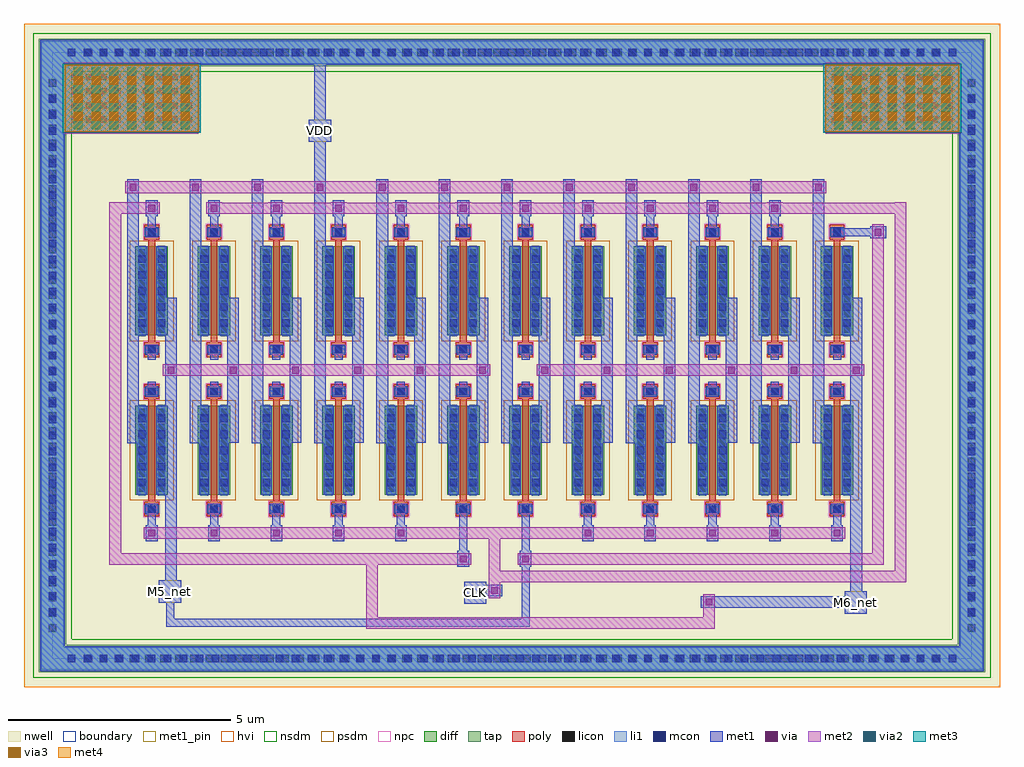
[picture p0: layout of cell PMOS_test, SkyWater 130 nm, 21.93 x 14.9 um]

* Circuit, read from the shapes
.subckt PMOS_test CLK M5_net M6_net VDD
XM1 M5_net CLK VDD VDD sky130_fd_pr__pfet_g5v0d10v5 w=2 l=0.15 m=10
XM2 M5_net M6_net VDD VDD sky130_fd_pr__pfet_g5v0d10v5 w=2 l=0.15 m=2
XM3 M6_net M5_net VDD VDD sky130_fd_pr__pfet_g5v0d10v5 w=2 l=0.15 m=2
XM4 M6_net CLK VDD VDD sky130_fd_pr__pfet_g5v0d10v5 w=2 l=0.15 m=10
.ends

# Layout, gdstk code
import gdstk
lib = gdstk.Library(unit=1e-6, precision=1e-09)
def R(c, l, rs):  # rectangles x0, y0, x1, y1
    for r in rs: c.add(gdstk.rectangle(r[:2], r[2:], *l))
def A(c, l, x, y, w, h, nx, ny, dx, dy):  # array of equal rectangles
    R(c, l, [(x+i*dx, y+j*dy, x+i*dx+w, y+j*dy+h) for i in range(nx) for j in range(ny)])
nwell = (64, 20)
diff = (65, 20)
tap = (65, 44)
poly = (66, 20)
licon = (66, 44)
li1 = (67, 20)
mcon = (67, 44)
met1_pin = (68, 16)
met1 = (68, 20)
via = (68, 44)
met2 = (69, 20)
via2 = (69, 44)
met3 = (70, 20)
via3 = (70, 44)
met4 = (71, 20)
hvi = (75, 20)
nsdm = (93, 44)
psdm = (94, 20)
npc = (95, 20)
boundary = (235, 4)

sky130_fd_pr__pfet_01v8_ = lib.new_cell('sky130_fd_pr__pfet_01v8_MJ75SZ')
R(sky130_fd_pr__pfet_01v8_, nwell, [(-0.545,-1.5,0.545,1.5)])
R(sky130_fd_pr__pfet_01v8_, diff, [(-0.365,-1,0.365,1)])
R(sky130_fd_pr__pfet_01v8_, poly, [(-0.165,-1.485,0.165,-1.155), (-0.075,-1.155,0.075,1.155), (-0.165,1.155,0.165,1.485)])
A(sky130_fd_pr__pfet_01v8_, licon, -0.305, -0.935, 0.17, 0.17, 1, 6, 0, 0.34)
A(sky130_fd_pr__pfet_01v8_, licon, 0.135, -0.935, 0.17, 0.17, 1, 6, 0, 0.34)
R(sky130_fd_pr__pfet_01v8_, licon, [(-0.085,-1.405,0.085,-1.235), (-0.085,1.235,0.085,1.405)])
R(sky130_fd_pr__pfet_01v8_, li1, [(-0.165,-1.405,0.165,-1.235), (-0.305,-1.02,-0.135,1.02), (0.135,-1.02,0.305,1.02), (-0.165,1.235,0.165,1.405)])
A(sky130_fd_pr__pfet_01v8_, mcon, -0.305, -0.805, 0.17, 0.17, 1, 5, 0, 0.36)
A(sky130_fd_pr__pfet_01v8_, mcon, 0.135, -0.805, 0.17, 0.17, 1, 5, 0, 0.36)
R(sky130_fd_pr__pfet_01v8_, mcon, [(-0.085,-1.405,0.085,-1.235), (-0.085,1.235,0.085,1.405)])
R(sky130_fd_pr__pfet_01v8_, met1, [(-0.145,-1.435,0.145,-1.205), (-0.335,-1,-0.105,1), (0.105,-1,0.335,1), (-0.145,1.205,0.145,1.435)])
R(sky130_fd_pr__pfet_01v8_, psdm, [(-0.49,-1.125,0.49,1.125)])
R(sky130_fd_pr__pfet_01v8_, npc, [(-0.185,-1.505,0.185,-1.135), (-0.185,1.135,0.185,1.505)])

pmos_test = lib.new_cell('PMOS_test')
R(pmos_test, nwell, [(-2.87,-8.9,19.06,6)])
R(pmos_test, tap, [(-2.54,-8.57,18.73,-7.95), (-2.54,-7.95,-1.92,5.05), (18.11,-7.95,18.73,5.05), (-2.54,5.05,18.73,5.67)])
A(pmos_test, licon, -1.51, -8.345, 0.17, 0.17, 57, 2, 0.34, 13.62)
A(pmos_test, licon, -2.315, -7.655, 0.17, 0.17, 1, 37, 0, 0.34)
A(pmos_test, licon, 18.335, -7.655, 0.17, 0.17, 1, 37, 0, 0.34)
R(pmos_test, li1, [(-2.48,-8.51,18.67,-8.01), (-2.48,-8.01,-1.98,5.11), (18.17,-8.01,18.67,5.11), (-2.48,5.11,18.67,5.61)])
A(pmos_test, mcon, -1.89, -8.345, 0.17, 0.17, 56, 2, 0.36, 13.62)
A(pmos_test, mcon, -2.315, -7.295, 0.17, 0.17, 1, 33, 0, 0.36)
A(pmos_test, mcon, 18.335, -7.295, 0.17, 0.17, 1, 33, 0, 0.36)
R(pmos_test, met1_pin, [(15.57,-7.25,16.07,-6.75), (7.02,-7.03,7.52,-6.53), (0.16,-7,0.66,-6.5), (3.53,3.35,4.03,3.85)])
A(pmos_test, met1, -0.13, -5.62, 0.26, 0.36, 5, 1, 1.4, 0)
A(pmos_test, met1, 9.67, -5.62, 0.26, 0.36, 5, 1, 1.4, 0)
A(pmos_test, met1, -0.09, -5.26, 0.18, 0.45, 5, 1, 1.4, 0)
A(pmos_test, met1, 9.71, -5.26, 0.18, 0.45, 5, 1, 1.4, 0)
A(pmos_test, met1, -0.55, -3.42, 0.26, 5.93, 3, 1, 1.4, 0)
A(pmos_test, met1, 5.05, -3.42, 0.26, 5.93, 8, 1, 1.4, 0)
A(pmos_test, met1, 1.7, -3.41, 0.26, 3.26, 10, 1, 1.4, 0)
A(pmos_test, met1, -0.09, -2.35, 0.18, 0.31, 12, 2, 1.4, 0.81)
A(pmos_test, met1, -0.09, 1.23, 0.18, 0.45, 11, 1, 1.4, 0)
A(pmos_test, met1, -0.13, 1.68, 0.26, 0.36, 11, 1, 1.4, 0)
R(pmos_test, met1, [(-2.51,-8.54,18.7,-7.98), (-2.51,-7.98,-1.95,3.58), (18.14,-7.98,18.7,3.58), (0.33,-7.54,8.49,-7.36), (0.33,-7.36,0.51,-7), (8.31,-7.36,8.49,-6.2), (15.57,-7.25,16.07,-7.12), (12.34,-7.12,16.07,-6.86), (7.02,-7.03,7.52,-6.86), (0.16,-7,0.66,-6.5), (7.02,-6.86,7.88,-6.6), (15.57,-6.86,16.07,-6.75), (15.7,-6.75,15.96,-0.15), (7.02,-6.6,7.52,-6.53), (0.3,-6.5,0.56,-0.15), (6.87,-6.2,7.13,-5.84), (8.27,-6.2,8.53,-5.84), (6.91,-5.84,7.09,-4.81), (8.31,-5.84,8.49,-4.81), (3.65,-3.42,3.91,3.35), (16.14,1.19,16.5,1.23), (15.31,1.23,16.5,1.41), (16.14,1.41,16.5,1.45), (3.53,3.35,4.03,3.85), (-2.51,3.58,1.1,5.08), (15.09,3.58,18.7,5.08), (3.65,3.85,3.91,5.08), (-2.51,5.08,18.7,5.64)])
A(pmos_test, via, -0.075, -5.515, 0.15, 0.15, 5, 1, 1.4, 0)
A(pmos_test, via, 9.725, -5.515, 0.15, 0.15, 5, 1, 1.4, 0)
A(pmos_test, via, 0.355, -1.855, 0.15, 0.15, 12, 1, 1.4, 0)
A(pmos_test, via, -0.075, 1.785, 0.15, 0.15, 11, 1, 1.4, 0)
A(pmos_test, via, -0.495, 2.255, 0.15, 0.15, 12, 1, 1.4, 0)
A(pmos_test, via, -1.805, 3.775, 0.15, 0.15, 9, 4, 0.32, 0.32)
A(pmos_test, via, 15.285, 3.775, 0.15, 0.15, 9, 4, 0.32, 0.32)
R(pmos_test, via, [(12.445,-7.065,12.595,-6.915), (7.625,-6.805,7.775,-6.655), (6.925,-6.095,7.075,-5.945), (8.325,-6.095,8.475,-5.945), (16.245,1.245,16.395,1.395)])
A(pmos_test, met2, 1.22, 1.98, 0.36, 0.01, 10, 1, 1.4, 0)
R(pmos_test, met2, [(4.82,-7.59,12.65,-7.33), (4.82,-7.33,5.08,-6.15), (12.39,-7.33,12.65,-6.81), (7.57,-6.91,7.83,-6.55), (7.57,-6.55,16.95,-6.29), (7.57,-6.29,7.83,-5.57), (16.69,-6.29,16.95,1.73), (-0.95,-6.15,7.18,-5.89), (8.22,-6.15,16.45,-5.89), (-0.95,-5.89,-0.69,1.73), (16.19,-5.89,16.45,1.5), (-0.18,-5.57,15.58,-5.31), (0.25,-1.91,7.61,-1.65), (8.65,-1.91,16.01,-1.65), (-0.95,1.73,0.18,1.99), (1.22,1.73,16.95,1.98), (16.69,1.98,16.95,1.99), (-0.6,2.2,15.16,2.46), (-1.95,3.53,1.05,5.13), (15.14,3.53,18.14,5.13)])
A(pmos_test, via2, -1.75, 3.63, 0.2, 0.2, 7, 4, 0.4, 0.4)
A(pmos_test, via2, 15.34, 3.63, 0.2, 0.2, 7, 4, 0.4, 0.4)
R(pmos_test, met3, [(-2,3.555,1.1,5.105), (15.09,3.555,18.19,5.105)])
A(pmos_test, via3, -1.75, 3.83, 0.2, 0.2, 7, 3, 0.4, 0.4)
A(pmos_test, via3, 15.34, 3.83, 0.2, 0.2, 7, 3, 0.4, 0.4)
R(pmos_test, met4, [(-1.955,3.575,1.055,5.085), (15.135,3.575,18.145,5.085)])
R(pmos_test, hvi, [(-2.87,-8.9,19.06,6)])
R(pmos_test, nsdm, [(-2.665,-8.695,18.855,-7.825), (-2.665,-7.825,-1.795,4.925), (17.985,-7.825,18.855,4.925), (-2.665,4.925,18.855,5.795)])
R(pmos_test, boundary, [(-2.23,-8.26,18.42,5.36)])
pmos_test.add(gdstk.Reference(sky130_fd_pr__pfet_01v8_, (0,-3.58)))
pmos_test.add(gdstk.Reference(sky130_fd_pr__pfet_01v8_, (1.4,-3.58)))
pmos_test.add(gdstk.Reference(sky130_fd_pr__pfet_01v8_, (2.8,-3.58)))
pmos_test.add(gdstk.Reference(sky130_fd_pr__pfet_01v8_, (4.2,-3.58)))
pmos_test.add(gdstk.Reference(sky130_fd_pr__pfet_01v8_, (5.6,-3.58)))
pmos_test.add(gdstk.Reference(sky130_fd_pr__pfet_01v8_, (7,-3.58)))
pmos_test.add(gdstk.Reference(sky130_fd_pr__pfet_01v8_, (8.4,-3.58)))
pmos_test.add(gdstk.Reference(sky130_fd_pr__pfet_01v8_, (9.8,-3.58)))
pmos_test.add(gdstk.Reference(sky130_fd_pr__pfet_01v8_, (11.2,-3.58)))
pmos_test.add(gdstk.Reference(sky130_fd_pr__pfet_01v8_, (12.6,-3.58)))
pmos_test.add(gdstk.Reference(sky130_fd_pr__pfet_01v8_, (14,-3.58)))
pmos_test.add(gdstk.Reference(sky130_fd_pr__pfet_01v8_, (15.4,-3.58)))
pmos_test.add(gdstk.Reference(sky130_fd_pr__pfet_01v8_, (0,0)))
pmos_test.add(gdstk.Reference(sky130_fd_pr__pfet_01v8_, (1.4,0)))
pmos_test.add(gdstk.Reference(sky130_fd_pr__pfet_01v8_, (2.8,0)))
pmos_test.add(gdstk.Reference(sky130_fd_pr__pfet_01v8_, (4.2,0)))
pmos_test.add(gdstk.Reference(sky130_fd_pr__pfet_01v8_, (5.6,0)))
pmos_test.add(gdstk.Reference(sky130_fd_pr__pfet_01v8_, (7,0)))
pmos_test.add(gdstk.Reference(sky130_fd_pr__pfet_01v8_, (8.4,0)))
pmos_test.add(gdstk.Reference(sky130_fd_pr__pfet_01v8_, (9.8,0)))
pmos_test.add(gdstk.Reference(sky130_fd_pr__pfet_01v8_, (11.2,0)))
pmos_test.add(gdstk.Reference(sky130_fd_pr__pfet_01v8_, (12.6,0)))
pmos_test.add(gdstk.Reference(sky130_fd_pr__pfet_01v8_, (14,0)))
pmos_test.add(gdstk.Reference(sky130_fd_pr__pfet_01v8_, (15.4,0)))
pmos_test.add(gdstk.Label('VDD', (3.78,3.6), layer=68, texttype=5))
pmos_test.add(gdstk.Label('M5_net', (0.41,-6.75), layer=68, texttype=5))
pmos_test.add(gdstk.Label('CLK', (7.27,-6.78), layer=68, texttype=5))
pmos_test.add(gdstk.Label('M6_net', (15.82,-7), layer=68, texttype=5))

lib.write_gds('PMOS_test.gds')
